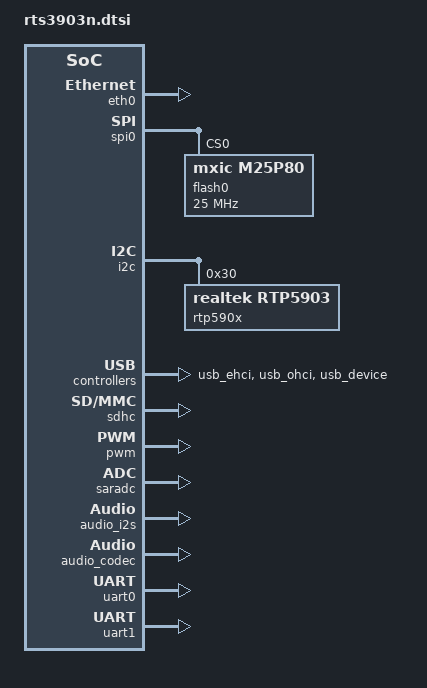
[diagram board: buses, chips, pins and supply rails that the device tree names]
#include "rts3903_base.dtsi"

/ {
	ocp {
		efuse: efuse@18865000 {
			status = "okay";
		};

		eth0: rtl8168@18400000 {
			status = "okay";
		};

		crypto: crypto@18600000 {
			status = "okay";
		};

		spi0: spic@0x18030000 {
			status = "okay";

			flash0: flash@0 {
				#address-cells = <1>;
				#size-cells = <1>;
				compatible = "mxic,m25p80", "jedec,spi-nor",
					"spi-flash";
				spi-max-frequency = <25000000>;
				reg = <0>;
				mode = <0>;
				spi-num-slaves = <0>;
				spi-fifo-size = <64>;
				spi-baudr-div = <1>;
			};

		};

		i2c: i2c@0x18880000 {
			status = "okay";

			rtp590x: rtp5903@30 {
				compatible = "realtek,rtp5903";
				reg = <0x30>;
				status = "okay";
			};

		};

		dmahost: dma@18020000 {
			status = "okay";
		};

		usb_ehci: ehci@18100000 {
			status = "okay";
		};

		usb_ohci: ohci@18180000 {
			status = "okay";
		};

		usb_device: dwc_otg@18200000 {
			status = "okay";
		};

		usb_phy: usbphy@18140000 {
			status = "okay";
		};

		sdhc: sdhc@18300000 {
			status = "okay";
		};

		pwm: pwm@0x18820000 {
			status = "okay";
		};

		watchdog: watchdog@0x18862000 {
			status = "okay";
		};

		thermal: thermal@0x18864000 {
			status = "okay";
		};

		ddrc: ddrc@0x18010000 {
			status = "okay";
		};

		saradc: saradc@0x18840000 {
			status = "okay";
		};

		pinctrl: pinctrl@0x18800000UL {
			status = "okay";
		};

		rts_mcu: rts_mcu@18040000 {
			status = "okay";
		};

		rts_soc_camera: rts_soc_camera@18040000 {
			status = "okay";
		};

		rts_h264_hx280enc@18060000 {
			status = "okay";
		};

		rts_mjpeg_enc: rts_jpgenc@1805e000 {
			status = "okay";
		};

		rts_osd_enc: rts_osd2@1805c000 {
			status = "okay";
		};

		audio_dma: audio_dma@18500000 {
			status = "okay";
		};

		audio_i2s: audio_i2s@18500064 {
			status = "okay";
		};

		audio_codec: audio_codec@18500070 {
			status = "okay";
		};

		uart0: serial@18810000 {
			status = "okay";
		};

		uart1: serial@18810100 {
			status = "okay";
		};
	};
};
